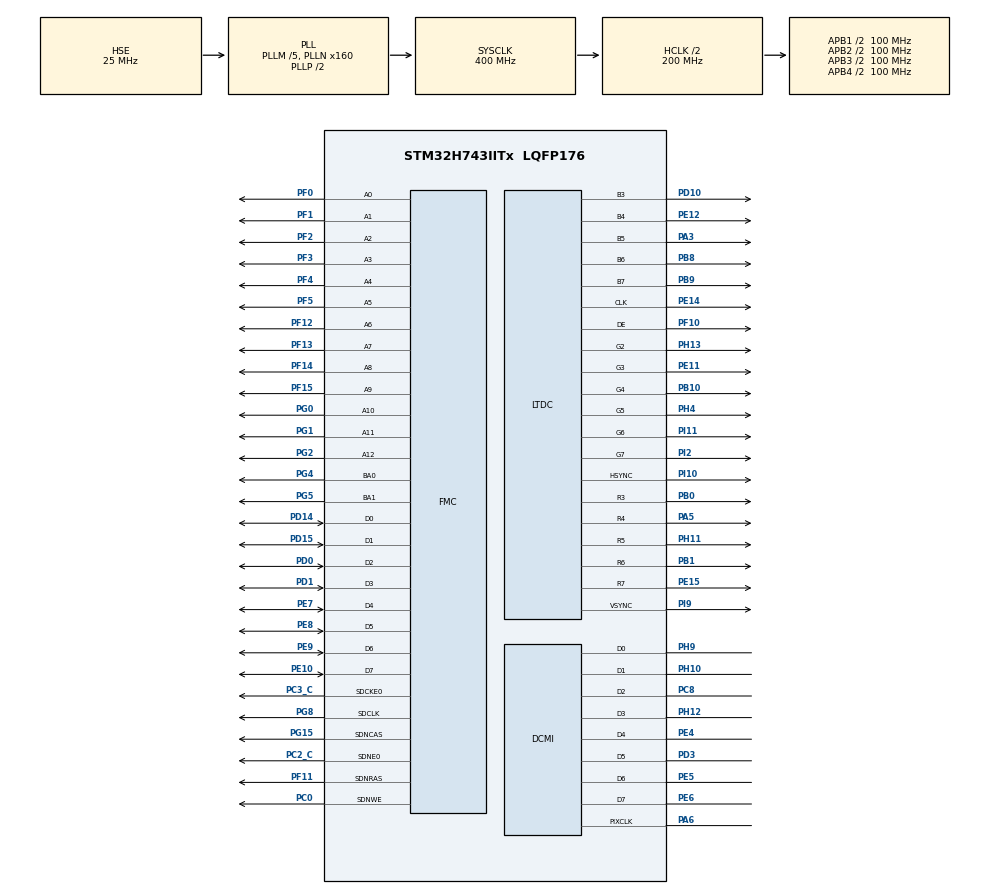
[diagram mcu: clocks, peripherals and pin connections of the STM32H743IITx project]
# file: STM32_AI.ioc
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CORTEX_M7.CPU_DCache=Enabled
CORTEX_M7.CPU_ICache=Enabled
CORTEX_M7.MPU_Control=MPU_HFNMI_PRIVDEF
CORTEX_M7.default_mode_Activation=0
DCMI.JPEGMode=DCMI_JPEG_DISABLE
Dma.DCMI.0.Direction=DMA_PERIPH_TO_MEMORY
Dma.DCMI.0.EventEnable=DISABLE
Dma.DCMI.0.FIFOMode=DMA_FIFOMODE_DISABLE
Dma.DCMI.0.Instance=DMA1_Stream0
Dma.DCMI.0.MemDataAlignment=DMA_MDATAALIGN_WORD
Dma.DCMI.0.MemInc=DMA_MINC_ENABLE
Dma.DCMI.0.Mode=DMA_NORMAL
Dma.DCMI.0.PeriphDataAlignment=DMA_PDATAALIGN_WORD
Dma.DCMI.0.PeriphInc=DMA_PINC_DISABLE
Dma.DCMI.0.Polarity=HAL_DMAMUX_REQ_GEN_RISING
Dma.DCMI.0.Priority=DMA_PRIORITY_LOW
Dma.DCMI.0.RequestNumber=1
Dma.DCMI.0.SignalID=NONE
Dma.DCMI.0.SyncEnable=DISABLE
Dma.DCMI.0.SyncPolarity=HAL_DMAMUX_SYNC_NO_EVENT
Dma.DCMI.0.SyncRequestNumber=1
Dma.DCMI.0.SyncSignalID=NONE
Dma.Request0=DCMI
Mcu.Family=STM32H7
Mcu.Name=STM32H743IITx
Mcu.Package=LQFP176
NVIC.DMA1_Stream0_IRQn=true\:0\:0\:false\:false\:true\:false\:true\:true
NVIC.PriorityGroup=NVIC_PRIORITYGROUP_2
PA13\ (JTMS/SWDIO).Mode=Serial_Wire
PA13\ (JTMS/SWDIO).Signal=DEBUG_JTMS-SWDIO
PA14\ (JTCK/SWCLK).Mode=Serial_Wire
PA14\ (JTCK/SWCLK).Signal=DEBUG_JTCK-SWCLK
PA3.Mode=RGB565
PA3.Signal=LTDC_B5
PA5.Mode=RGB565
PA5.Signal=LTDC_R4
PA6.Mode=Slave_8_bits_Embedded_Synchro
PA6.Signal=DCMI_PIXCLK
PB0.Mode=RGB565
PB0.Signal=LTDC_R3
PB1.Mode=RGB565
PB1.Signal=LTDC_R6
PB10.Mode=RGB565
PB10.Signal=LTDC_G4
PB8.Mode=RGB565
PB8.Signal=LTDC_B6
PB9.Mode=RGB565
PB9.Signal=LTDC_B7
PC0.Signal=FMC_SDNWE
PC2_C.Mode=SdramChipSelect1_1
PC2_C.Signal=FMC_SDNE0
PC3_C.Mode=SdramChipSelect1_1
PC3_C.Signal=FMC_SDCKE0
PC8.Mode=Slave_8_bits_Embedded_Synchro
PC8.Signal=DCMI_D2
PD0.Signal=FMC_D2_DA2
PD1.Signal=FMC_D3_DA3
PD10.Mode=RGB565
PD10.Signal=LTDC_B3
PD14.Signal=FMC_D0_DA0
PD15.Signal=FMC_D1_DA1
PD3.Mode=Slave_8_bits_Embedded_Synchro
PD3.Signal=DCMI_D5
PE10.Signal=FMC_D7_DA7
PE11.Mode=RGB565
PE11.Signal=LTDC_G3
PE12.Mode=RGB565
PE12.Signal=LTDC_B4
PE14.Mode=RGB565
PE14.Signal=LTDC_CLK
PE15.Mode=RGB565
PE15.Signal=LTDC_R7
PE4.Mode=Slave_8_bits_Embedded_Synchro
PE4.Signal=DCMI_D4
PE5.Mode=Slave_8_bits_Embedded_Synchro
PE5.Signal=DCMI_D6
PE6.Mode=Slave_8_bits_Embedded_Synchro
PE6.Signal=DCMI_D7
PE7.Signal=FMC_D4_DA4
PE8.Signal=FMC_D5_DA5
PE9.Signal=FMC_D6_DA6
PF0.Signal=FMC_A0
PF1.Signal=FMC_A1
PF10.Mode=RGB565
PF10.Signal=LTDC_DE
PF11.Signal=FMC_SDNRAS
PF12.Signal=FMC_A6
PF13.Signal=FMC_A7
PF14.Signal=FMC_A8
PF15.Signal=FMC_A9
PF2.Signal=FMC_A2
PF3.Signal=FMC_A3
PF4.Signal=FMC_A4
PF5.Signal=FMC_A5
PG0.Signal=FMC_A10
PG1.Signal=FMC_A11
PG15.Signal=FMC_SDNCAS
PG2.Signal=FMC_A12
PG4.Signal=FMC_A14_BA0
PG5.Signal=FMC_A15_BA1
PG8.Signal=FMC_SDCLK
PH0-OSC_IN\ (PH0).Mode=HSE-External-Oscillator
PH0-OSC_IN\ (PH0).Signal=RCC_OSC_IN
PH1-OSC_OUT\ (PH1).Mode=HSE-External-Oscillator
PH1-OSC_OUT\ (PH1).Signal=RCC_OSC_OUT
PH10.Mode=Slave_8_bits_Embedded_Synchro
PH10.Signal=DCMI_D1
PH11.Mode=RGB565
PH11.Signal=LTDC_R5
PH12.Mode=Slave_8_bits_Embedded_Synchro
PH12.Signal=DCMI_D3
PH13.Mode=RGB565
PH13.Signal=LTDC_G2
PH4.Mode=RGB565
PH4.Signal=LTDC_G5
PH9.Mode=Slave_8_bits_Embedded_Synchro
PH9.Signal=DCMI_D0
PI10.Mode=RGB565
PI10.Signal=LTDC_HSYNC
PI11.Mode=RGB565
PI11.Signal=LTDC_G6
PI2.Mode=RGB565
PI2.Signal=LTDC_G7
PI9.Mode=RGB565
PI9.Signal=LTDC_VSYNC
ProjectManager.HeapSize=0x800
ProjectManager.StackSize=0x800
ProjectManager.TargetToolchain=Makefile
RCC.ADCFreq_Value=50390625
RCC.APB1Freq_Value=100000000
RCC.APB2Freq_Value=100000000
RCC.APB3Freq_Value=100000000
RCC.APB4Freq_Value=100000000
RCC.CortexFreq_Value=400000000
RCC.D1PPRE=RCC_APB3_DIV2
RCC.D2PPRE1=RCC_APB1_DIV2
RCC.D2PPRE2=RCC_APB2_DIV2
RCC.D3PPRE=RCC_APB4_DIV2
RCC.DIVM1=5
RCC.DIVM3=25
RCC.DIVN1=160
RCC.DIVN3=300
RCC.DIVR1=4
RCC.DIVR3=9
RCC.HCLKFreq_Value=200000000
RCC.HPRE=RCC_HCLK_DIV2
RCC.HSE_VALUE=25000000
RCC.PLLSourceVirtual=RCC_PLLSOURCE_HSE
RCC.SYSCLKFreq_VALUE=400000000
RCC.SYSCLKSource=RCC_SYSCLKSOURCE_PLLCLK
RCC.USBFreq_Value=400000000
SH.FMC_A0.0=FMC_A0,13b-sda1
SH.FMC_A1.0=FMC_A1,13b-sda1
SH.FMC_A10.0=FMC_A10,13b-sda1
SH.FMC_A11.0=FMC_A11,13b-sda1
SH.FMC_A12.0=FMC_A12,13b-sda1
SH.FMC_A14_BA0.0=FMC_BA0,FourSdramBanks1
SH.FMC_A15_BA1.0=FMC_BA1,FourSdramBanks1
SH.FMC_A2.0=FMC_A2,13b-sda1
SH.FMC_A3.0=FMC_A3,13b-sda1
SH.FMC_A4.0=FMC_A4,13b-sda1
SH.FMC_A5.0=FMC_A5,13b-sda1
SH.FMC_A6.0=FMC_A6,13b-sda1
SH.FMC_A7.0=FMC_A7,13b-sda1
SH.FMC_A8.0=FMC_A8,13b-sda1
SH.FMC_A9.0=FMC_A9,13b-sda1
SH.FMC_D0_DA0.0=FMC_D0,sd-8b-d1
SH.FMC_D1_DA1.0=FMC_D1,sd-8b-d1
SH.FMC_D2_DA2.0=FMC_D2,sd-8b-d1
SH.FMC_D3_DA3.0=FMC_D3,sd-8b-d1
SH.FMC_D4_DA4.0=FMC_D4,sd-8b-d1
SH.FMC_D5_DA5.0=FMC_D5,sd-8b-d1
SH.FMC_D6_DA6.0=FMC_D6,sd-8b-d1
SH.FMC_D7_DA7.0=FMC_D7,sd-8b-d1
SH.FMC_SDCLK.0=FMC_SDCLK,13b-sda1
SH.FMC_SDNCAS.0=FMC_SDNCAS,13b-sda1
SH.FMC_SDNRAS.0=FMC_SDNRAS,13b-sda1
SH.FMC_SDNWE.0=FMC_SDNWE,13b-sda1
STMicroelectronics.X-CUBE-AI.8.1.0.ActivationBufferSizeList=736596
STMicroelectronics.X-CUBE-AI.8.1.0.ActivationBuffers=pool0
STMicroelectronics.X-CUBE-AI.8.1.0.ActivationNames=pool0
STMicroelectronics.X-CUBE-AI.8.1.0.ActivationSizes=AI_NETWORK_DATA_ACTIVATION_1_SIZE
STMicroelectronics.X-CUBE-AI.8.1.0.HeapSize=0x800
STMicroelectronics.X-CUBE-AI.8.1.0.InternalRamActivationBufferMaxSize=AI_NETWORK_DATA_ACTIVATIONS_SIZE
STMicroelectronics.X-CUBE-AI.8.1.0.LatestDirectoryUsed-331b9b5a3c604597a1c080c858992026debd2fb04cb10aa6bb4ee33e69c73c97=E\:\\\u5DE5\u4F5C\\stm32ai-modelzoo-main\\image_classification\\models\\mobilenetv2\\ST_pretrainedmodel_public_dataset\\food-101\\mobilenet_v2_0.35_224
STMicroelectronics.X-CUBE-AI.8.1.0.MaximumNumberOfInputLayer=1
STMicroelectronics.X-CUBE-AI.8.1.0.MaximumNumberOfOutputLayer=1
STMicroelectronics.X-CUBE-AI.8.1.0.MaximumSizeOfInputLayer=1
STMicroelectronics.X-CUBE-AI.8.1.0.MaximumSizeOfOutputLayer=1
STMicroelectronics.X-CUBE-AI.8.1.0.ModelActualCompression-331b9b5a3c604597a1c080c858992026debd2fb04cb10aa6bb4ee33e69c73c97=0.0
STMicroelectronics.X-CUBE-AI.8.1.0.ModelCompression-331b9b5a3c604597a1c080c858992026debd2fb04cb10aa6bb4ee33e69c73c97=None
STMicroelectronics.X-CUBE-AI.8.1.0.ModelFlashOccupation-331b9b5a3c604597a1c080c858992026debd2fb04cb10aa6bb4ee33e69c73c97=656169
STMicroelectronics.X-CUBE-AI.8.1.0.ModelHashList=331b9b5a3c604597a1c080c858992026debd2fb04cb10aa6bb4ee33e69c73c97
STMicroelectronics.X-CUBE-AI.8.1.0.ModelKind-331b9b5a3c604597a1c080c858992026debd2fb04cb10aa6bb4ee33e69c73c97=TFLITE
STMicroelectronics.X-CUBE-AI.8.1.0.ModelMacc-331b9b5a3c604597a1c080c858992026debd2fb04cb10aa6bb4ee33e69c73c97=58590042
STMicroelectronics.X-CUBE-AI.8.1.0.ModelName-331b9b5a3c604597a1c080c858992026debd2fb04cb10aa6bb4ee33e69c73c97=network
STMicroelectronics.X-CUBE-AI.8.1.0.ModelNameList=network
STMicroelectronics.X-CUBE-AI.8.1.0.ModelRamOccupation-331b9b5a3c604597a1c080c858992026debd2fb04cb10aa6bb4ee33e69c73c97=736596
STMicroelectronics.X-CUBE-AI.8.1.0.ModelStructureFile-331b9b5a3c604597a1c080c858992026debd2fb04cb10aa6bb4ee33e69c73c97=/E\:/\u5DE5\u4F5C/stm32ai-modelzoo-main/image_classification/models/mobilenetv2/ST_pretrainedmodel_public_dataset/food-101/mobilenet_v2_0.35_224/mobilenet_v2_0.35_224_int8.tflite
STMicroelectronics.X-CUBE-AI.8.1.0.ModelType-331b9b5a3c604597a1c080c858992026debd2fb04cb10aa6bb4ee33e69c73c97=STM32Cube.AI runtime
STMicroelectronics.X-CUBE-AI.8.1.0.ReadyForCodeGeneration=true
STMicroelectronics.X-CUBE-AI.8.1.0.StackSize=0x800
STMicroelectronics.X-CUBE-AI.8.1.0.WorkingBufferStartAddrList=0xFFFFFFFF
STMicroelectronics.X-CUBE-AI.8.1.0.XAaCUBEAaAICcArtificialOoIntelligenceJjCore=true
STMicroelectronics.X-CUBE-AI.8.1.0.copyWeightToRam=false
STMicroelectronics.X-CUBE-AI.8.1.0.copyWeightToRam-331b9b5a3c604597a1c080c858992026debd2fb04cb10aa6bb4ee33e69c73c97=false
STMicroelectronics.X-CUBE-AI.8.1.0.customLayerConfigEnabled=false
STMicroelectronics.X-CUBE-AI.8.1.0.customLayerConfigEnabled-331b9b5a3c604597a1c080c858992026debd2fb04cb10aa6bb4ee33e69c73c97=false
STMicroelectronics.X-CUBE-AI.8.1.0.noOnnxIoTranspose=false
STMicroelectronics.X-CUBE-AI.8.1.0.noOnnxIoTranspose-331b9b5a3c604597a1c080c858992026debd2fb04cb10aa6bb4ee33e69c73c97=false
STMicroelectronics.X-CUBE-AI.8.1.0.useInputAllocation=true
STMicroelectronics.X-CUBE-AI.8.1.0.useInputAllocation-331b9b5a3c604597a1c080c858992026debd2fb04cb10aa6bb4ee33e69c73c97=true
STMicroelectronics.X-CUBE-AI.8.1.0.useOutputAllocation=true
STMicroelectronics.X-CUBE-AI.8.1.0.useOutputAllocation-331b9b5a3c604597a1c080c858992026debd2fb04cb10aa6bb4ee33e69c73c97=true
VP_CRC_VS_CRC.Mode=CRC_Activate
VP_DMA2D_VS_DMA2D.Mode=DMA2D_Activate
VP_STMicroelectronics.X-CUBE-AI_VS_ArtificialOoIntelligenceJjXAaCUBEAaAI_8.1.0.Mode=ArtificialOoIntelligenceJjXAaCUBEAaAI
board=custom

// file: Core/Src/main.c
/* USER CODE BEGIN Header */
/**
  ******************************************************************************
  * @file           : main.c
  * @brief          : Main program body
  ******************************************************************************
  * @attention
  *
  * Copyright (c) 2023 STMicroelectronics.
  * All rights reserved.
  *
  * This software is licensed under terms that can be found in the LICENSE file
  * in the root directory of this software component.
  * If no LICENSE file comes with this software, it is provided AS-IS.
  *
  ******************************************************************************
  */
/* USER CODE END Header */
#include "main.h"
#include "crc.h"
#include "dcmi.h"
#include "lcd.h"
#include "fmc.h"

/* USER CODE BEGIN Includes */
#include "ov5640.h"
#include "stdio.h"
#include "delay.h"
#include <math.h>
#include <stdint.h>
/* USER CODE END Includes */

/* USER CODE BEGIN PTD */
CLASSES_TABLE;
uint8_t *NN_InputImage_Buffer=NULL;
uint8_t *NN_OutputData_Buffer=NULL;
char const* nn_class_name;
float nn_class_proba;
const char** nn_output_labels = classes_table;
int ai_ranking[AI_NET_OUTPUT_SIZE];
__attribute__((section(".NN_Activation_Buffer")))
__attribute__ ((aligned (32)))
  uint8_t NN_Activation_Buffer[AI_NETWORK_DATA_ACTIVATIONS_SIZE + 32 - (AI_ACTIVATION_SIZE_BYTES%32)];
/* USER CODE END PTD */

void SystemClock_Config(void);
static void MPU_Config(void);

/* USER CODE BEGIN 0 */
void Network_Postprocess(void) {
    Output_Dequantize(NN_OutputData_Buffer);
    for (int i = 0; i < AI_NET_OUTPUT_SIZE; i++)
    {
        ai_ranking[i] = i;
    }

    Utility_Bubblesort((float*)(NN_OutputData_Buffer), ai_ranking, AI_NET_OUTPUT_SIZE);

    nn_class_name=nn_output_labels[ai_ranking[0]];
    nn_class_proba=*((float*)(NN_OutputData_Buffer)+0);
    nn_class_proba = nn_class_proba*100;
}
/* USER CODE END 0 */

int main(void)
{
    /* USER CODE BEGIN 1 */
    uint16_t* framebuf;
    void *input_data_ptr, *output_data_ptr;
    char msg[100] = " ";
    uint16_t num = 5;
    float_t max_prob = 0;
    /* USER CODE END 1 */

    /* Enable I-Cache---------------------------------------------------------*/
    SCB_EnableICache();

    /* Enable D-Cache---------------------------------------------------------*/
    SCB_EnableDCache();

    SCB->CACR |= 1 << 2;
    /* MCU Configuration--------------------------------------------------------*/

    /* Reset of all peripherals, Initializes the Flash interface and the Systick. */
    HAL_Init();

    /* MPU Configuration--------------------------------------------------------*/
    MPU_Config();

    /* Configure the system clock */
    SystemClock_Config();
    delay_init(400);

    /* Initialize all configured peripherals */
    MX_FMC_Init();
    lcd_init();
    MX_CRC_Init();
    MX_DCMI_Init();
    delay_ms(1000);
    while (ov5640_init());
    dcmi_start();
    ai_init((void*)(NN_Activation_Buffer), &input_data_ptr, &output_data_ptr);

    if(input_data_ptr != NULL)
      NN_InputImage_Buffer = input_data_ptr;

    if(output_data_ptr != NULL)
      NN_OutputData_Buffer = output_data_ptr;

    if (NN_InputImage_Buffer == NULL || NN_OutputData_Buffer == NULL)
    {
      Error_Handler();
    }
    /* USER CODE BEGIN 2 */
    lcd_display_dir(1);
    (void)get_frame_buf();
    /* USER CODE END 2 */

    /* Infinite loop */
    while (1)
    {
        framebuf = get_frame_buf();
        if(framebuf!=NULL){
            lcd_color_fill(0, 0, IMAGE_WIDTH - 1, IMAGE_HEIGHT - 1, framebuf);
            Network_Preprocess((uint8_t*)framebuf, NN_InputImage_Buffer);
            ai_run(NN_InputImage_Buffer, NN_OutputData_Buffer);
            Network_Postprocess();
            sprintf(msg, "%s %d%%", nn_output_labels[ai_ranking[0]], (int)nn_class_proba);
            lcd_show_string(230, 5, 80, 200, 16, msg, BLACK);
            start_new_frame();
        }
        delay_ms(10);
    }
}

void SystemClock_Config(void)
{
    RCC_OscInitTypeDef RCC_OscInitStruct = {0};
    RCC_ClkInitTypeDef RCC_ClkInitStruct = {0};

    MODIFY_REG(PWR->CR3, PWR_CR3_SCUEN, 0);
    __HAL_PWR_VOLTAGESCALING_CONFIG(PWR_REGULATOR_VOLTAGE_SCALE1);
    while ((PWR->D3CR & (PWR_D3CR_VOSRDY)) != PWR_D3CR_VOSRDY);
    /** Initializes the RCC Oscillators according to the specified parameters
    * in the RCC_OscInitTypeDef structure.
    */
    RCC_OscInitStruct.OscillatorType = RCC_OSCILLATORTYPE_HSE | RCC_OSCILLATORTYPE_HSI48;
    RCC_OscInitStruct.HSEState       = RCC_HSE_ON;
    RCC_OscInitStruct.HSIState       = RCC_HSI_OFF;
    RCC_OscInitStruct.CSIState       = RCC_CSI_OFF;
    RCC_OscInitStruct.HSI48State     = RCC_HSI48_ON;
    RCC_OscInitStruct.PLL.PLLState   = RCC_PLL_ON;
    RCC_OscInitStruct.PLL.PLLSource  = RCC_PLLSOURCE_HSE;
    RCC_OscInitStruct.PLL.PLLM       = 5;
    RCC_OscInitStruct.PLL.PLLN       = 160;
    RCC_OscInitStruct.PLL.PLLP       = 2;
    RCC_OscInitStruct.PLL.PLLQ       = 4;
    RCC_OscInitStruct.PLL.PLLRGE     = RCC_PLL1VCIRANGE_2;
    RCC_OscInitStruct.PLL.PLLVCOSEL  = RCC_PLL1VCOWIDE;
    RCC_OscInitStruct.PLL.PLLFRACN   = 0;
    if (HAL_RCC_OscConfig(&RCC_OscInitStruct) != HAL_OK)
    {
      Error_Handler();
    }

    /** Initializes the CPU, AHB and APB buses clocks
    */
    RCC_ClkInitStruct.ClockType      = RCC_CLOCKTYPE_HCLK|RCC_CLOCKTYPE_SYSCLK
                                     |RCC_CLOCKTYPE_PCLK1|RCC_CLOCKTYPE_PCLK2
                                   |RCC_CLOCKTYPE_D3PCLK1|RCC_CLOCKTYPE_D1PCLK1;
    RCC_ClkInitStruct.SYSCLKSource   = RCC_SYSCLKSOURCE_PLLCLK;
    RCC_ClkInitStruct.SYSCLKDivider  = RCC_SYSCLK_DIV1;
    RCC_ClkInitStruct.AHBCLKDivider  = RCC_HCLK_DIV2;
    RCC_ClkInitStruct.APB3CLKDivider = RCC_APB3_DIV2;
    RCC_ClkInitStruct.APB1CLKDivider = RCC_APB1_DIV2;
    RCC_ClkInitStruct.APB2CLKDivider = RCC_APB2_DIV2;
    RCC_ClkInitStruct.APB4CLKDivider = RCC_APB4_DIV2;

    if (HAL_RCC_ClockConfig(&RCC_ClkInitStruct, FLASH_LATENCY_2) != HAL_OK)
    {
      Error_Handler();
    }
    HAL_PWREx_EnableUSBVoltageDetector();
    __HAL_RCC_CSI_ENABLE() ;
    __HAL_RCC_SYSCFG_CLK_ENABLE() ;
    HAL_EnableCompensationCell();
}

/* USER CODE BEGIN 4 */
uint8_t mpu_set_protection(uint32_t baseaddr, uint32_t size, uint32_t rnum, uint8_t de, uint8_t ap, uint8_t sen, uint8_t cen, uint8_t ben)
{
    MPU_Region_InitTypeDef mpu_region_init_handle;

    HAL_MPU_Disable();

    mpu_region_init_handle.Enable           = MPU_REGION_ENABLE;
    mpu_region_init_handle.Number           = rnum;
    mpu_region_init_handle.BaseAddress      = baseaddr;
    mpu_region_init_handle.DisableExec      = de;
    mpu_region_init_handle.Size             = size;
    mpu_region_init_handle.SubRegionDisable = 0X00;
    mpu_region_init_handle.TypeExtField     = MPU_TEX_LEVEL0;
    mpu_region_init_handle.AccessPermission = (uint8_t)ap;
    mpu_region_init_handle.IsShareable      = sen;
    mpu_region_init_handle.IsCacheable      = cen;
    mpu_region_init_handle.IsBufferable     = ben;
    HAL_MPU_ConfigRegion(&mpu_region_init_handle);
    HAL_MPU_Enable(MPU_PRIVILEGED_DEFAULT);
    return 0;
}

/* USER CODE END 4 */

/* MPU Configuration */

void MPU_Config(void)
{
  mpu_set_protection( 0x20000000,
                        MPU_REGION_SIZE_128KB,
                        MPU_REGION_NUMBER1, 0,
                        MPU_REGION_FULL_ACCESS,
                        MPU_ACCESS_NOT_SHAREABLE,
                        MPU_ACCESS_CACHEABLE,
                        MPU_ACCESS_BUFFERABLE);

    mpu_set_protection( 0x24000000,
                        MPU_REGION_SIZE_512KB,
                        MPU_REGION_NUMBER2, 0,
                        MPU_REGION_FULL_ACCESS,
                        MPU_ACCESS_SHAREABLE,
                        MPU_ACCESS_CACHEABLE,
                        MPU_ACCESS_NOT_BUFFERABLE);

    mpu_set_protection( 0x30000000,
                        MPU_REGION_SIZE_512KB,
                        MPU_REGION_NUMBER3, 0,
                        MPU_REGION_FULL_ACCESS,
                        MPU_ACCESS_NOT_SHAREABLE,
                        MPU_ACCESS_CACHEABLE,
                        MPU_ACCESS_BUFFERABLE);

    mpu_set_protection( 0x38000000,
                        MPU_REGION_SIZE_64KB,
                        MPU_REGION_NUMBER4, 0,
                        MPU_REGION_FULL_ACCESS,
                        MPU_ACCESS_NOT_SHAREABLE,
                        MPU_ACCESS_CACHEABLE,
                        MPU_ACCESS_BUFFERABLE);

    mpu_set_protection( 0x60000000,
                        MPU_REGION_SIZE_64MB,
                        MPU_REGION_NUMBER5, 0,
                        MPU_REGION_FULL_ACCESS,
                        MPU_ACCESS_NOT_SHAREABLE,
                        MPU_ACCESS_NOT_CACHEABLE,
                        MPU_ACCESS_NOT_BUFFERABLE);

    mpu_set_protection( 0xC0000000,
                        MPU_REGION_SIZE_32MB,
                        MPU_REGION_NUMBER6, 0,
                        MPU_REGION_FULL_ACCESS,
                        MPU_ACCESS_NOT_SHAREABLE,
                        MPU_ACCESS_CACHEABLE,
                        MPU_ACCESS_BUFFERABLE);

    mpu_set_protection( 0x80000000,
                        MPU_REGION_SIZE_256MB,
                        MPU_REGION_NUMBER7, 1,
                        MPU_REGION_FULL_ACCESS,
                        MPU_ACCESS_NOT_SHAREABLE,
                        MPU_ACCESS_NOT_CACHEABLE,
                        MPU_ACCESS_NOT_BUFFERABLE);

}

void Error_Handler(void)
{
  __disable_irq();
  while (1)
  {
  }
}
